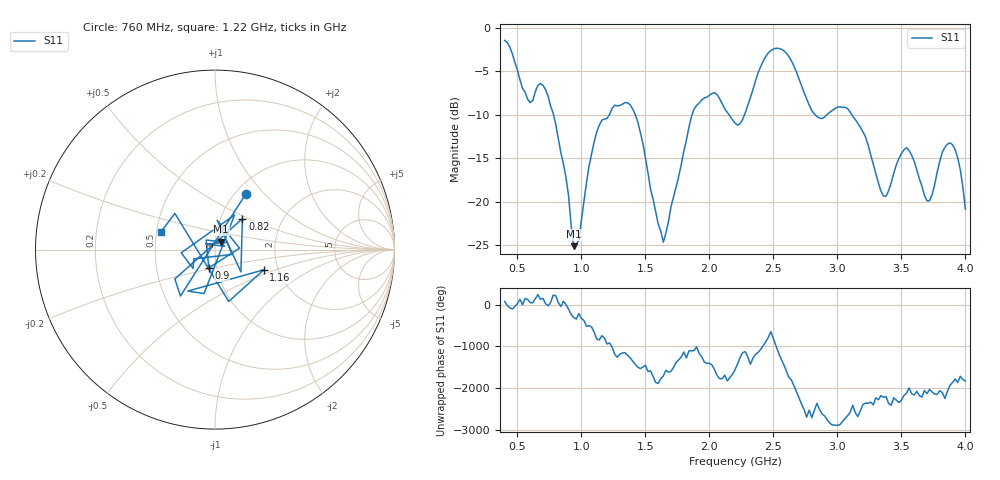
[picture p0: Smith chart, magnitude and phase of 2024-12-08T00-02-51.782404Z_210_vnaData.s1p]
!Created with skrf (http://scikit-rf.org).
# Hz S RI R 50.0
!freq ReS11 ImS11
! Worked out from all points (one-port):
!   181 points, 400 MHz to 4 GHz, reference 50 ohm
!   lowest |S11| = -25.1 dB at 940 MHz (marker M1), VSWR 1.12, Z = 53.4 + j4.64 ohm
!   |S11| at or under -10 dB: 782.5 MHz to 1.218 GHz (435.3 MHz wide, 43.5 % of centre); 1.421 GHz to 1.864 GHz (442.8 MHz wide, 27 % of centre); 3.113 GHz to end of sweep (the widest 3 of 5)
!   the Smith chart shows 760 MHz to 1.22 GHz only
!   S11 on the Smith chart (normalised r, x): 760 MHz: 1.12, +0.79; 820 MHz: 1.27, +0.46; 900 MHz: 0.91, -0.19; 1.16 GHz: 1.68, -0.41; 1.22 GHz: 0.53, +0.11
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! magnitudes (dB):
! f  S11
! 400 MHz  -1.4
! 580 MHz  -8.2
! 680 MHz  -6.4
! 760 MHz  -9.0
! 820 MHz  -12.8
! 860 MHz  -15.7
! 900 MHz  -19.4
! 940 MHz  -25.1
! 980 MHz  -24.4
! 1.16 GHz  -10.6
! 1.22 GHz  -9.9
! 1.3 GHz  -8.9
! 1.44 GHz  -10.8
! 1.64 GHz  -24.7
! 1.76 GHz  -17.1
! 1.86 GHz  -10.2
! 1.94 GHz  -8.3
! 2.2 GHz  -10.9
! 2.46 GHz  -2.9
! 2.66 GHz  -4.4
! 2.84 GHz  -10.2
! 3.1 GHz  -9.7
! 3.36 GHz  -19.3
! 3.56 GHz  -14.1
! 3.72 GHz  -19.9
! 3.82 GHz  -14.3
! 3.9 GHz  -13.5
! 4 GHz  -20.9
